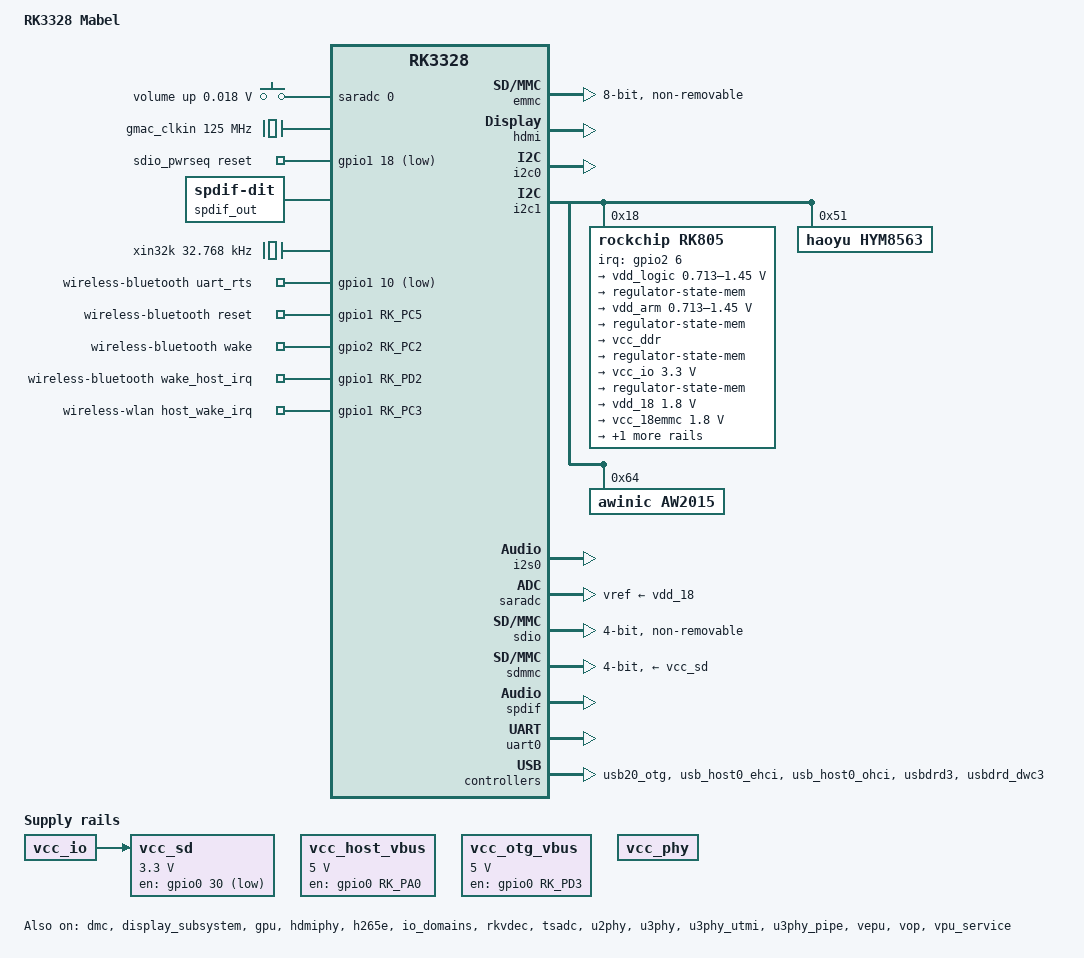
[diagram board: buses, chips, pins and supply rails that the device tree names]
// SPDX-License-Identifier: (GPL-2.0+ OR MIT)
/*
 * Copyright (c) 2017 Fuzhou Rockchip Electronics Co., Ltd
 *
 */

/dts-v1/;
#include "rk3328.dtsi"
#include <dt-bindings/input/input.h>

/ {
	model = "RK3328 Mabel";
	compatible = "rockchip,rk3328-mabel", "rockchip,rk3328";

	chosen {
		bootargs = "earlycon=uart8250,mmio32,0xff130000 swiotlb=1 kpti=0 console=ttyFIQ0 root=PARTUUID=614e0000-0000 rootwait";
	};

	fiq-debugger {
		compatible = "rockchip,fiq-debugger";
		rockchip,serial-id = <2>;
		rockchip,signal-irq = <159>;
		rockchip,wake-irq = <0>;
		/* If enable uart uses irq instead of fiq */
		rockchip,irq-mode-enable = <0>;
		rockchip,baudrate = <1500000>;  /* Only 115200 and 1500000 */
		interrupts = <GIC_SPI 127 IRQ_TYPE_LEVEL_LOW>;
		status = "okay";
	};

	adc-keys {
		compatible = "adc-keys";
		io-channels = <&saradc 0>;
		io-channel-names = "buttons";
		poll-interval = <100>;
		keyup-threshold-microvolt = <1800000>;

		vol-up-key {
			linux,code = <KEY_VOLUMEUP>;
			label = "volume up";
			press-threshold-microvolt = <18000>;
		};
	};

	gmac_clkin: external-gmac-clock {
		compatible = "fixed-clock";
		clock-frequency = <125000000>;
		clock-output-names = "gmac_clkin";
		#clock-cells = <0>;
	};

	sdio_pwrseq: sdio-pwrseq {
		compatible = "mmc-pwrseq-simple";
		pinctrl-names = "default";
		pinctrl-0 = <&wifi_enable_h>;

		/*
		 * On the module itself this is one of these (depending
		 * on the actual card populated):
		 * - SDIO_RESET_L_WL_REG_ON
		 * - PDN (power down when low)
		 */
		reset-gpios = <&gpio1 18 GPIO_ACTIVE_LOW>;
	};

	hdmi-sound {
		compatible = "simple-audio-card";
		simple-audio-card,format = "i2s";
		simple-audio-card,mclk-fs = <128>;
		simple-audio-card,name = "rockchip,hdmi";
		simple-audio-card,cpu {
			sound-dai = <&i2s0>;
		};
		simple-audio-card,codec {
			sound-dai = <&hdmi>;
		};
	};

	spdif-sound {
		compatible = "simple-audio-card";
		simple-audio-card,name = "rockchip,spdif";
		simple-audio-card,cpu {
			sound-dai = <&spdif>;
		};
		simple-audio-card,codec {
			sound-dai = <&spdif_out>;
		};
	};

	spdif_out: spdif-out {
		compatible = "linux,spdif-dit";
		#sound-dai-cells = <0>;
	};

	vcc_host_vbus: host-vbus-regulator {
		compatible = "regulator-fixed";
		gpio = <&gpio0 RK_PA0 GPIO_ACTIVE_HIGH>;
		pinctrl-names = "default";
		pinctrl-0 = <&host_vbus_drv>;
		regulator-name = "vcc_host_vbus";
		regulator-min-microvolt = <5000000>;
		regulator-max-microvolt = <5000000>;
		enable-active-high;
	};

	vcc_otg_vbus: otg-vbus-regulator {
		compatible = "regulator-fixed";
		gpio = <&gpio0 RK_PD3 GPIO_ACTIVE_HIGH>;
		pinctrl-names = "default";
		pinctrl-0 = <&otg_vbus_drv>;
		regulator-name = "vcc_otg_vbus";
		regulator-min-microvolt = <5000000>;
		regulator-max-microvolt = <5000000>;
		enable-active-high;
	};

	vcc_phy: vcc-phy-regulator {
		compatible = "regulator-fixed";
		regulator-name = "vcc_phy";
		regulator-always-on;
		regulator-boot-on;
	};

	vcc_sd: sdmmc-regulator {
		compatible = "regulator-fixed";
		gpio = <&gpio0 30 GPIO_ACTIVE_LOW>;
		pinctrl-names = "default";
		pinctrl-0 = <&sdmmc0m1_gpio>;
		regulator-name = "vcc_sd";
		regulator-min-microvolt = <3300000>;
		regulator-max-microvolt = <3300000>;
		vin-supply = <&vcc_io>;
	};

	xin32k: xin32k {
		compatible = "fixed-clock";
		clock-frequency = <32768>;
		clock-output-names = "xin32k";
		#clock-cells = <0>;
	};



	wireless-bluetooth {
		compatible = "bluetooth-platdata";
		clocks = <&rk805 1>;
		clock-names = "ext_clock";
		uart_rts_gpios = <&gpio1 10 GPIO_ACTIVE_LOW>;
		pinctrl-names = "default", "rts_gpio";
		pinctrl-0 = <&uart0_rts>;
		pinctrl-1 = <&uart0_gpios>;
		//BT,power_gpio = <&gpio1 RK_PC5 GPIO_ACTIVE_HIGH>;
		BT,reset_gpio    = <&gpio1 RK_PC5 GPIO_ACTIVE_HIGH>;  // reset bt core
		BT,wake_gpio     = <&gpio2 RK_PC2 GPIO_ACTIVE_HIGH>;  // wakeup bt
		BT,wake_host_irq = <&gpio1 RK_PD2 GPIO_ACTIVE_HIGH>;  // wakeup host

		status = "okay";
	};

	wireless-wlan {
		compatible = "wlan-platdata";
		rockchip,grf = <&grf>;
		wifi_chip_type = "ap6356s";
		sdio_vref = <1800>;
		WIFI,host_wake_irq = <&gpio1 RK_PC3 GPIO_ACTIVE_HIGH>;
		status = "okay";
	};

};

&cpu0 {
	cpu-supply = <&vdd_arm>;
};

&dmc {
	center-supply = <&vdd_logic>;
	status = "okay";
};

&display_subsystem {
	status = "okay";
};

&emmc {
	bus-width = <8>;
	cap-mmc-highspeed;
	mmc-hs200-1_8v;
	supports-emmc;
	disable-wp;
	non-removable;
	num-slots = <1>;
	pinctrl-names = "default";
	pinctrl-0 = <&emmc_clk &emmc_cmd &emmc_bus8>;
	status = "okay";
};

&gmac2io {
	phy-supply = <&vcc_phy>;
	phy-mode = "rgmii";
	clock_in_out = "input";
	snps,reset-gpio = <&gpio1 RK_PC2 GPIO_ACTIVE_LOW>;
	snps,reset-active-low;
	snps,reset-delays-us = <0 10000 50000>;
	assigned-clocks = <&cru SCLK_MAC2IO>, <&cru SCLK_MAC2IO_EXT>;
	assigned-clock-parents = <&gmac_clkin>, <&gmac_clkin>;
	pinctrl-names = "default";
	pinctrl-0 = <&rgmiim1_pins>;
	tx_delay = <0x26>;
	rx_delay = <0x11>;
	status = "disabled";
};

&gmac2phy {
	phy-supply = <&vcc_phy>;
	clock_in_out = "output";
	assigned-clocks = <&cru SCLK_MAC2PHY_SRC>;
	assigned-clock-rate = <50000000>;
	assigned-clocks = <&cru SCLK_MAC2PHY>;
	assigned-clock-parents = <&cru SCLK_MAC2PHY_SRC>;
	status = "disabled";
};

&gpu {
	status = "okay";
	mali-supply = <&vdd_logic>;
};

&hdmi {
	#sound-dai-cells = <0>;
	ddc-i2c-scl-high-time-ns = <9625>;
	ddc-i2c-scl-low-time-ns = <10000>;
	status = "okay";
};

&hdmiphy {
	status = "okay";
};

&i2c0 {
	status = "okay";
};

&i2c1 {
	status = "okay";

	rk805: rk805@18 {
		compatible = "rockchip,rk805";
		status = "okay";
		reg = <0x18>;
		interrupt-parent = <&gpio2>;
		interrupts = <6 IRQ_TYPE_LEVEL_LOW>;
		pinctrl-names = "default";
		pinctrl-0 = <&pmic_int_l>;
		rockchip,system-power-controller;
		wakeup-source;
		gpio-controller;
		clock-output-names = "rk805-clkout1", "rk805-clkout2";
		#gpio-cells = <2>;
		#clock-cells = <1>;


		rtc {
			status = "disabled";
		};

		pwrkey {
			status = "disabled";
		};

		gpio {
			status = "okay";
		};

		regulators {
			compatible = "rk805-regulator";
			status = "okay";
			#address-cells = <1>;
			#size-cells = <0>;

			vdd_logic: RK805_DCDC1 {
				regulator-compatible = "RK805_DCDC1";
				regulator-name = "vdd_logic";
				regulator-min-microvolt = <712500>;
				regulator-max-microvolt = <1450000>;
				regulator-initial-mode = <0x1>;
				regulator-ramp-delay = <12500>;
				regulator-boot-on;
				regulator-always-on;
				regulator-state-mem {
					regulator-mode = <0x2>;
					regulator-on-in-suspend;
					regulator-suspend-microvolt = <1000000>;
				};
			};

			vdd_arm: RK805_DCDC2 {
				regulator-compatible = "RK805_DCDC2";
				regulator-name = "vdd_arm";
				regulator-min-microvolt = <712500>;
				regulator-max-microvolt = <1450000>;
				regulator-initial-mode = <0x1>;
				regulator-ramp-delay = <12500>;
				regulator-boot-on;
				regulator-always-on;
				regulator-state-mem {
					regulator-mode = <0x2>;
					regulator-on-in-suspend;
					regulator-suspend-microvolt = <950000>;
				};
			};

			vcc_ddr: RK805_DCDC3 {
				regulator-compatible = "RK805_DCDC3";
				regulator-name = "vcc_ddr";
				regulator-initial-mode = <0x1>;
				regulator-boot-on;
				regulator-always-on;
				regulator-state-mem {
					regulator-mode = <0x2>;
					regulator-on-in-suspend;
				};
			};

			vcc_io: RK805_DCDC4 {
				regulator-compatible = "RK805_DCDC4";
				regulator-name = "vcc_io";
				regulator-min-microvolt = <3300000>;
				regulator-max-microvolt = <3300000>;
				regulator-initial-mode = <0x1>;
				regulator-boot-on;
				regulator-always-on;
				regulator-state-mem {
					regulator-mode = <0x2>;
					regulator-on-in-suspend;
					regulator-suspend-microvolt = <3300000>;
				};
			};

			vdd_18: RK805_LDO1 {
				regulator-compatible = "RK805_LDO1";
				regulator-name = "vdd_18";
				regulator-min-microvolt = <1800000>;
				regulator-max-microvolt = <1800000>;
				regulator-boot-on;
				regulator-always-on;
				regulator-state-mem {
					regulator-on-in-suspend;
					regulator-suspend-microvolt = <1800000>;
				};
			};

			vcc_18emmc: RK805_LDO2 {
				regulator-compatible = "RK805_LDO2";
				regulator-name = "vcc_18emmc";
				regulator-min-microvolt = <1800000>;
				regulator-max-microvolt = <1800000>;
				regulator-boot-on;
				regulator-always-on;
				regulator-state-mem {
					regulator-on-in-suspend;
					regulator-suspend-microvolt = <1800000>;
				};
			};

			vdd_10: RK805_LDO3 {
				regulator-compatible = "RK805_LDO3";
				regulator-name = "vdd_10";
				regulator-min-microvolt = <1000000>;
				regulator-max-microvolt = <1000000>;
				regulator-boot-on;
				regulator-always-on;
				regulator-state-mem {
					regulator-on-in-suspend;
					regulator-suspend-microvolt = <1000000>;
				};
			};
		};
	};

	hym8563: hym8563@51 {
		compatible = "haoyu,hym8563";
		reg = <0x51>;
		status = "okay";
	};

	aw2015: aw2015@64 {
		compatible = "awinic,aw2015";
		status = "okay";
		reg = <0x64>;

		aw2015,red {
			aw2015,name = "red";
			aw2015,id = <0>;
			aw2015,max-brightness = <255>;
			aw2015,max-current = <1>;
			aw2015,rise-time-ms = <6>;
			aw2015,hold-time-ms = <0>;
			aw2015,fall-time-ms = <6>;
			aw2015,off-time-ms = <4>;
		};

		aw2015,green {
			aw2015,name = "green";
			aw2015,id = <1>;
			aw2015,max-brightness = <255>;
			aw2015,max-current = <1>;
			aw2015,rise-time-ms = <6>;
			aw2015,hold-time-ms = <0>;
			aw2015,fall-time-ms = <6>;
			aw2015,off-time-ms = <4>;
		};

		aw2015,blue {
			aw2015,name = "blue";
			aw2015,id = <2>;
			aw2015,max-brightness = <255>;
			aw2015,max-current = <1>;
			aw2015,rise-time-ms = <6>;
			aw2015,hold-time-ms = <0>;
			aw2015,fall-time-ms = <6>;
			aw2015,off-time-ms = <4>;
		};
	};
};

&h265e {
	status = "okay";
};

&i2s0 {
	#sound-dai-cells = <0>;
	rockchip,bclk-fs = <128>;
	status = "okay";
};

&i2s1 {
	#sound-dai-cells = <0>;
	status = "disabled";
};

&io_domains {
	status = "okay";

	vccio1-supply = <&vcc_io>;
	vccio2-supply = <&vcc_18emmc>;
	vccio3-supply = <&vcc_io>;
	vccio4-supply = <&vdd_18>;
	vccio5-supply = <&vcc_io>;
	vccio6-supply = <&vcc_io>;
	pmuio-supply = <&vcc_io>;
};

&pinctrl {
	pmic {
		pmic_int_l: pmic-int-l {
		rockchip,pins =
			<2 RK_PA6 RK_FUNC_GPIO &pcfg_pull_up>;	/* gpio2_a6 */
		};
	};

	sdio-pwrseq {
		wifi_enable_h: wifi-enable-h {
		rockchip,pins =
			<1 18 RK_FUNC_GPIO &pcfg_pull_none>;
		};
	};

	usb {
		host_vbus_drv: host-vbus-drv {
			rockchip,pins =
				<0 RK_PA0 RK_FUNC_GPIO &pcfg_pull_none>;
		};

		otg_vbus_drv: otg-vbus-drv {
			rockchip,pins =
				<0 RK_PD3 RK_FUNC_GPIO &pcfg_pull_none>;
		};
	};

	wireless-bluetooth {
		uart0_gpios: uart0-gpios {
		rockchip,pins =
			<1 10 RK_FUNC_GPIO &pcfg_pull_none>;
		};
	};
};

&rkvdec {
	vcodec-supply = <&vdd_logic>;
	status = "okay";
};

&saradc {
	status = "okay";
	vref-supply = <&vdd_18>;
};

&sdio {
	bus-width = <4>;
	cap-sd-highspeed;
	cap-sdio-irq;
	disable-wp;
	keep-power-in-suspend;
	max-frequency = <208000000>;
	mmc-pwrseq = <&sdio_pwrseq>;
	non-removable;
	num-slots = <1>;
	pinctrl-names = "default";
	pinctrl-0 = <&sdmmc1_bus4 &sdmmc1_cmd &sdmmc1_clk>;
	supports-sdio;
	sd-uhs-sdr104;
	status = "okay";
};

&sdmmc {
	bus-width = <4>;
	cap-mmc-highspeed;
	cap-sd-highspeed;
	disable-wp;
	max-frequency = <150000000>;
	num-slots = <1>;
	pinctrl-names = "default";
	pinctrl-0 = <&sdmmc0_clk &sdmmc0_cmd &sdmmc0_dectn &sdmmc0_bus4>;
	supports-sd;
	status = "okay";
	vmmc-supply = <&vcc_sd>;
};

&spdif {
	#sound-dai-cells = <0>;
	status = "okay";
};

&tsadc {
	status = "okay";
};

&uart0 {
	pinctrl-names = "default";
	pinctrl-0 = <&uart0_xfer &uart0_cts>;
	status = "okay";
};

&u2phy {
	status = "okay";

	u2phy_host: host-port {
		status = "okay";
	};

	u2phy_otg: otg-port {
		vbus-supply = <&vcc_otg_vbus>;
		status = "okay";
	};
};

&u3phy {
	vbus-supply = <&vcc_host_vbus>;
	status = "okay";
};

&u3phy_utmi {
	status = "okay";
};

&u3phy_pipe {
	status = "okay";
};

&usb20_otg {
	status = "okay";
};

&usb_host0_ehci {
	status = "okay";
};

&usb_host0_ohci {
	status = "okay";
};

&usbdrd3 {
	status = "okay";
};

&usbdrd_dwc3 {
	status = "okay";
};

&vepu {
	status = "okay";
};

&vop {
	status = "okay";
};

&vop_mmu {
	status = "okay";
};

&vpu_service {
	status = "okay";
};
